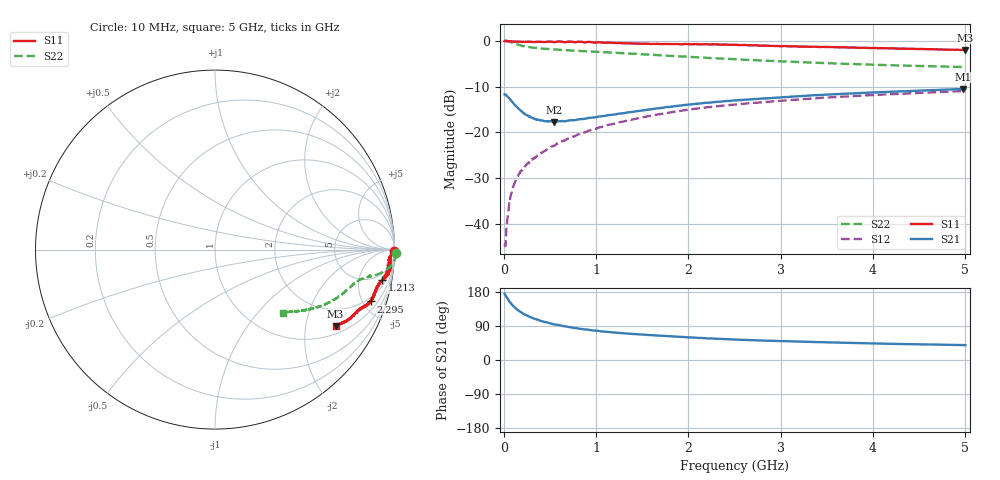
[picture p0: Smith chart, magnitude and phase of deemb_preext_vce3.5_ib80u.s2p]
! Forward-simulated: Re-embedded (raw/measured) — deemb_preext_vce3.5_ib80u.s2p
!  source_deembedded_file = deemb_preext_vce3.5_ib80u.s2p
!  Cpbe_fF = 22.0
!  Cpce_fF = 18.0
!  Cpbc_fF = 5.0
!  Lb_pH = 45.0
!  Lc_pH = 42.0
!  Le_pH = 6.0
!  Rpb_ohm = 0.0
!  Rpc_ohm = 0.0
!  Rpe_ohm = 0.0
# Hz S DB R 50
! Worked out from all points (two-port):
!   1001 points, 10 MHz to 5 GHz, reference 50 ohm
!   highest |S21| = -10.50 dB at 4.975 GHz (marker M1); lowest = -17.7 dB at 548.9 MHz (marker M2)
!   |S21| within 3 dB of the highest: start of sweep to 100.1 MHz; 2.218 GHz to end of sweep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
!   lowest |S11| = -2.0 dB at 4.995 GHz (marker M3), VSWR 8.74, Z = 63.8 - j147 ohm
!   |S11| at or under -10 dB: nowhere
!   |S22| runs from -5.7 to 0.1 dB; largest |S21 - S12| = 0.27
!   S11 on the Smith chart (normalised r, x): 10 MHz: open; 1.213 GHz: 3, -10; 2.295 GHz: 1.59, -5.75; 5 GHz: 1.27, -2.95
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1e7  -0.04 -0.4  -11.67 174.9  -44.27 21.0  0.08 -1.1
2.996e7  -0.07 -0.6  -11.93 166.3  -40.81 76.9  0.04 -3.0
5.99e7  -0.09 -0.9  -12.55 155.5  -35.42 72.2  -0.12 -5.2
8.485e7  -0.12 -1.4  -13.13 147.6  -33.24 68.0  -0.34 -6.7
1.1978e8  -0.17 -1.8  -13.97 138.7  -31.03 64.6  -0.61 -8.0
1.5471e8  -0.16 -2.0  -14.69 131.6  -29.49 61.5  -0.82 -8.9
2.3954e8  -0.23 -2.6  -16.10 118.9  -27.20 59.0  -1.23 -10.1
3.2936e8  -0.26 -3.4  -17.02 109.0  -25.52 58.2  -1.49 -10.9
5.4892e8  -0.30 -5.2  -17.70 94.0  -22.86 58.0  -1.87 -13.1
5.9882e8  -0.13 -5.4  -17.56 92.0  -22.21 58.5  -1.93 -13.6
6.5371e8  -0.29 -6.4  -17.58 89.0  -21.77 57.9  -2.02 -14.3
7.086e8  -0.14 -6.2  -17.38 87.0  -21.23 58.0  -2.07 -14.8
8.4333e8  -0.23 -7.8  -17.07 81.7  -20.19 57.4  -2.23 -16.3
1.21259e9  -0.47 -10.4  -16.02 72.2  -18.00 55.5  -2.60 -20.4
1.67666e9  -0.67 -13.4  -14.72 64.4  -16.06 52.6  -3.12 -25.0
2.29542e9  -0.76 -18.4  -13.30 56.1  -14.31 48.4  -3.80 -30.1
2.505e9  -0.86 -19.7  -13.00 54.0  -13.90 46.9  -4.00 -31.4
3.33833e9  -1.29 -23.9  -11.90 47.7  -12.57 43.1  -4.74 -36.1
4.17166e9  -1.65 -28.9  -11.11 42.8  -11.65 39.6  -5.29 -39.7
4.97505e9  -1.98 -32.3  -10.50 39.4  -10.96 37.0  -5.71 -42.6
4.99501e9  -2.00 -32.3  -10.50 39.3  -10.95 37.0  -5.72 -42.7
5e9  -1.99 -32.3  -10.50 39.3  -10.95 37.0  -5.72 -42.7
